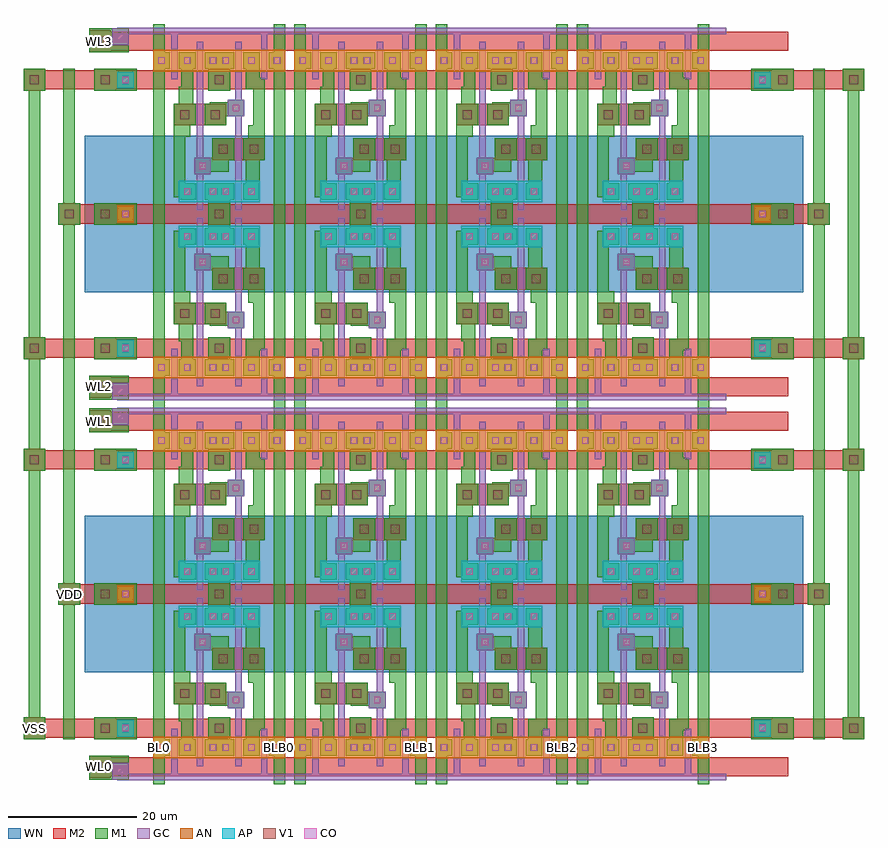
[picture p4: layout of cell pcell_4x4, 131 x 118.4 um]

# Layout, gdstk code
import gdstk
lib = gdstk.Library(unit=1e-6, precision=5e-08)
def R(c, l, rs):  # rectangles x0, y0, x1, y1
    for r in rs: c.add(gdstk.rectangle(r[:2], r[2:], *l))
def A(c, l, x, y, w, h, nx, ny, dx, dy):  # array of equal rectangles
    R(c, l, [(x+i*dx, y+j*dy, x+i*dx+w, y+j*dy+h) for i in range(nx) for j in range(ny)])
AP = (3, 1)
AN = (3, 2)
GC = (8, 1)
CO = (11, 0)
M1 = (13, 0)
V1 = (19, 0)
M2 = (20, 0)
WN = (140, 0)

fet_n = lib.new_cell('fet_n')
R(fet_n, AN, [(-3.3,-1.7,3.3,1.7)])
R(fet_n, CO, [(-2.5,-0.5,-1.5,0.5), (1.5,-0.5,2.5,0.5)])
R(fet_n, M1, [(-3.3,-1.3,-0.7,1.3), (0.7,-1.3,3.3,1.3)])
fet_n.add(gdstk.FlexPath([(0,-2.9),(0,2.9)], 1, ends="flush", simple_path=True, layer=8, datatype=1))  # GC

fet_p = lib.new_cell('fet_p')
R(fet_p, AP, [(-3.3,-1.7,3.3,1.7)])
R(fet_p, CO, [(-2.5,-0.5,-1.5,0.5), (1.5,-0.5,2.5,0.5)])
R(fet_p, M1, [(-3.3,-1.3,-0.7,1.3), (0.7,-1.3,3.3,1.3)])
fet_p.add(gdstk.FlexPath([(0,-2.9),(0,2.9)], 1, ends="flush", simple_path=True, layer=8, datatype=1))  # GC

via_1 = lib.new_cell('via_1')
R(via_1, M1, [(-1.7,-1.7,1.7,1.7)])
R(via_1, V1, [(-0.7,-0.7,0.7,0.7)])
R(via_1, M2, [(-1.7,-1.7,1.7,1.7)])

cont_g = lib.new_cell('cont_g')
R(cont_g, GC, [(-1.3,-1.3,1.3,1.3)])
R(cont_g, CO, [(-0.5,-0.5,0.5,0.5)])
R(cont_g, M1, [(-1.3,-1.3,1.3,1.3)])

pcell_core = lib.new_cell('pcell_core')
R(pcell_core, GC, [(0,-5.1,22,-4.1), (1.5,-5.1,2.5,-2.4), (15.5,-5.1,16.5,-2.4), (5.5,2.4,6.5,18), (11.5,2.4,12.5,18), (11.1,6.9,12.5,7.9), (5.5,15.9,6.9,16.9)])
R(pcell_core, M1, [(-1.3,-5.7,0.5,23.9), (17.5,-5.7,19.3,23.9), (3.1,-0.9,4.9,5.9), (8.1,-0.9,9.9,3.9), (13.1,-0.9,14.9,4.5), (14.9,1.3,15.3,2.7), (13.1,2.7,16.1,4.5), (14.3,2.7,16.1,11.9), (2.7,4.1,4.9,5.9), (2.7,4.1,4.5,11.9), (4.5,5.9,4.9,6.7), (7.5,6.5,9.3,9.3), (7.5,6.5,12.5,8.3), (10.1,8.3,10.3,8.7), (1.9,10.1,4.5,11.9), (1.9,10.1,3.7,21.3), (13.5,10.1,16.1,11.9), (13.5,10.1,15.3,18.7), (15.3,11.9,16.1,12.1), (8.7,12.9,10.5,17.3), (7.7,15.1,7.9,15.5), (5.5,15.5,10.5,17.3), (13.1,15.5,13.5,16.9), (13.1,16.9,15.3,18.7), (13.1,16.9,14.9,21.3), (14.9,18.7,15.3,19.1), (1.9,19.5,4.9,21.3), (8.1,19.5,9.9,24.8), (7.3,21.7,8.1,22.2), (9.9,21.7,10.7,22.2)])
R(pcell_core, M2, [(0,-4.5,22,-1.5), (0,1.5,22,4.5), (1.9,6.7,10.1,10.1), (7.9,12.1,16.1,15.5), (0,22.4,22,25.4)])
R(pcell_core, WN, [(-3.5,11.7,25.5,29.1)])
pcell_core.add(gdstk.Reference(fet_n, (2,0)))
pcell_core.add(gdstk.Reference(fet_n, (6,0)))
pcell_core.add(gdstk.Reference(fet_n, (12,0)))
pcell_core.add(gdstk.Reference(fet_n, (16,0)))
pcell_core.add(gdstk.Reference(fet_p, (6,20.4)))
pcell_core.add(gdstk.Reference(fet_p, (12,20.4)))
pcell_core.add(gdstk.Reference(via_1, (9,3)))
pcell_core.add(gdstk.Reference(via_1, (9,23.9)))
pcell_core.add(gdstk.Reference(via_1, (3.6,8.4)))
pcell_core.add(gdstk.Reference(via_1, (8.4,8.4)))
pcell_core.add(gdstk.Reference(cont_g, (11.6,7.4)))
pcell_core.add(gdstk.Reference(via_1, (14.4,13.8)))
pcell_core.add(gdstk.Reference(via_1, (9.6,13.8)))
pcell_core.add(gdstk.Reference(cont_g, (6.4,16.4)))

cont_n = lib.new_cell('cont_n')
R(cont_n, AN, [(-1.3,-1.3,1.3,1.3)])
R(cont_n, CO, [(-0.5,-0.5,0.5,0.5)])
R(cont_n, M1, [(-1.3,-1.3,1.3,1.3)])

cont_p = lib.new_cell('cont_p')
R(cont_p, AP, [(-1.3,-1.3,1.3,1.3)])
R(cont_p, CO, [(-0.5,-0.5,0.5,0.5)])
R(cont_p, M1, [(-1.3,-1.3,1.3,1.3)])

pcell_4x4 = lib.new_cell('pcell_4x4')
R(pcell_4x4, GC, [(-6.9,0.6,-5.9,2.5), (-6.4,0.6,0,1.6), (-6.9,56.7,-5.9,58.6), (-6.4,57.6,0,58.6), (-6.9,59.8,-5.9,61.7), (-6.4,59.8,0,60.8), (-6.9,115.9,-5.9,117.8), (-6.4,116.8,0,117.8)])
A(pcell_4x4, M1, -10.5, 7, 6.6, 3.4, 1, 3, 0, 20.9)
A(pcell_4x4, M1, 91.9, 7, 6.6, 3.4, 1, 3, 0, 20.9)
A(pcell_4x4, M1, -10.5, 66.2, 6.6, 3.4, 1, 3, 0, 20.9)
A(pcell_4x4, M1, 91.9, 66.2, 6.6, 3.4, 1, 3, 0, 20.9)
R(pcell_4x4, M1, [(-11.3,0.7,-5.1,4.4), (-20.7,7,-18.9,111.4), (-15.3,7,-13.5,111.4), (101.5,7,103.3,111.4), (106.9,7,108.7,111.4), (-11.3,54.8,-5.1,58.5), (-11.3,59.9,-5.1,63.6), (-11.3,114,-5.1,117.7)])
R(pcell_4x4, M2, [(-9.6,1.2,97.6,4.2), (-21.5,7.2,89.7,10.2), (-1.7,7.2,109.5,10.2), (-16.1,28.1,89.7,31.1), (-1.7,28.1,104.1,31.1), (-21.5,49,89.7,52), (-1.7,49,109.5,52), (-9.6,55,97.6,58), (-9.6,60.4,97.6,63.4), (-21.5,66.4,89.7,69.4), (-1.7,66.4,109.5,69.4), (-16.1,87.3,89.7,90.3), (-1.7,87.3,104.1,90.3), (-21.5,108.2,89.7,111.2), (-1.7,108.2,109.5,111.2), (-9.6,114.2,97.6,117.2)])
R(pcell_4x4, WN, [(-12,17.4,100,41.8), (0,17.4,100,41.8), (-12,76.6,100,101), (0,76.6,100,101)])
pcell_4x4.add(gdstk.Reference(pcell_core, (0,5.7)))
pcell_4x4.add(gdstk.Reference(pcell_core, (22,5.7)))
pcell_4x4.add(gdstk.Reference(pcell_core, (44,5.7)))
pcell_4x4.add(gdstk.Reference(pcell_core, (66,5.7)))
pcell_4x4.add(gdstk.Reference(cont_g, (-6.4,2)))
pcell_4x4.add(gdstk.Reference(via_1, (-9.6,2.7)))
pcell_4x4.add(gdstk.Reference(pcell_core, (0,53.5), x_reflection=True))
pcell_4x4.add(gdstk.Reference(pcell_core, (22,53.5), x_reflection=True))
pcell_4x4.add(gdstk.Reference(pcell_core, (44,53.5), x_reflection=True))
pcell_4x4.add(gdstk.Reference(pcell_core, (66,53.5), x_reflection=True))
pcell_4x4.add(gdstk.Reference(cont_g, (-6.4,57.2)))
pcell_4x4.add(gdstk.Reference(via_1, (-9.6,56.5)))
pcell_4x4.add(gdstk.Reference(pcell_core, (0,64.9)))
pcell_4x4.add(gdstk.Reference(pcell_core, (22,64.9)))
pcell_4x4.add(gdstk.Reference(pcell_core, (44,64.9)))
pcell_4x4.add(gdstk.Reference(pcell_core, (66,64.9)))
pcell_4x4.add(gdstk.Reference(cont_g, (-6.4,61.2)))
pcell_4x4.add(gdstk.Reference(via_1, (-9.6,61.9)))
pcell_4x4.add(gdstk.Reference(pcell_core, (0,112.7), x_reflection=True))
pcell_4x4.add(gdstk.Reference(pcell_core, (22,112.7), x_reflection=True))
pcell_4x4.add(gdstk.Reference(pcell_core, (44,112.7), x_reflection=True))
pcell_4x4.add(gdstk.Reference(pcell_core, (66,112.7), x_reflection=True))
pcell_4x4.add(gdstk.Reference(cont_g, (-6.4,116.4)))
pcell_4x4.add(gdstk.Reference(via_1, (-9.6,115.7)))
pcell_4x4.add(gdstk.Reference(cont_n, (-5.6,29.6)))
pcell_4x4.add(gdstk.Reference(via_1, (-8.8,29.6)))
pcell_4x4.add(gdstk.Reference(via_1, (-14.4,29.6)))
pcell_4x4.add(gdstk.Reference(cont_n, (-5.6,88.8)))
pcell_4x4.add(gdstk.Reference(via_1, (-8.8,88.8)))
pcell_4x4.add(gdstk.Reference(via_1, (-14.4,88.8)))
pcell_4x4.add(gdstk.Reference(cont_p, (-5.6,8.7)))
pcell_4x4.add(gdstk.Reference(via_1, (-8.8,8.7)))
pcell_4x4.add(gdstk.Reference(via_1, (-19.8,8.7)))
pcell_4x4.add(gdstk.Reference(cont_p, (-5.6,50.5)))
pcell_4x4.add(gdstk.Reference(via_1, (-8.8,50.5)))
pcell_4x4.add(gdstk.Reference(via_1, (-19.8,50.5)))
pcell_4x4.add(gdstk.Reference(cont_p, (-5.6,67.9)))
pcell_4x4.add(gdstk.Reference(via_1, (-8.8,67.9)))
pcell_4x4.add(gdstk.Reference(via_1, (-19.8,67.9)))
pcell_4x4.add(gdstk.Reference(cont_p, (-5.6,109.7)))
pcell_4x4.add(gdstk.Reference(via_1, (-8.8,109.7)))
pcell_4x4.add(gdstk.Reference(via_1, (-19.8,109.7)))
pcell_4x4.add(gdstk.Reference(cont_n, (93.6,29.6)))
pcell_4x4.add(gdstk.Reference(via_1, (96.8,29.6)))
pcell_4x4.add(gdstk.Reference(via_1, (102.4,29.6)))
pcell_4x4.add(gdstk.Reference(cont_n, (93.6,88.8)))
pcell_4x4.add(gdstk.Reference(via_1, (96.8,88.8)))
pcell_4x4.add(gdstk.Reference(via_1, (102.4,88.8)))
pcell_4x4.add(gdstk.Reference(cont_p, (93.6,8.7)))
pcell_4x4.add(gdstk.Reference(via_1, (96.8,8.7)))
pcell_4x4.add(gdstk.Reference(via_1, (107.8,8.7)))
pcell_4x4.add(gdstk.Reference(cont_p, (93.6,50.5)))
pcell_4x4.add(gdstk.Reference(via_1, (96.8,50.5)))
pcell_4x4.add(gdstk.Reference(via_1, (107.8,50.5)))
pcell_4x4.add(gdstk.Reference(cont_p, (93.6,67.9)))
pcell_4x4.add(gdstk.Reference(via_1, (96.8,67.9)))
pcell_4x4.add(gdstk.Reference(via_1, (107.8,67.9)))
pcell_4x4.add(gdstk.Reference(cont_p, (93.6,109.7)))
pcell_4x4.add(gdstk.Reference(via_1, (96.8,109.7)))
pcell_4x4.add(gdstk.Reference(via_1, (107.8,109.7)))
pcell_4x4.add(gdstk.Label('WL0', (-9.6,2.7), layer=49, texttype=0))
pcell_4x4.add(gdstk.Label('WL1', (-9.6,56.5), layer=49, texttype=0))
pcell_4x4.add(gdstk.Label('WL2', (-9.6,61.9), layer=49, texttype=0))
pcell_4x4.add(gdstk.Label('WL3', (-9.6,115.7), layer=49, texttype=0))
pcell_4x4.add(gdstk.Label('VDD', (-14.4,29.6), layer=48, texttype=0))
pcell_4x4.add(gdstk.Label('VSS', (-19.8,8.7), layer=48, texttype=0))
pcell_4x4.add(gdstk.Label('BL0', (-0.4,5.7), layer=48, texttype=0))
pcell_4x4.add(gdstk.Label('BLB0', (18.4,5.7), layer=48, texttype=0))
pcell_4x4.add(gdstk.Label('BL1', (21.6,5.7), layer=48, texttype=0))
pcell_4x4.add(gdstk.Label('BLB1', (40.4,5.7), layer=48, texttype=0))
pcell_4x4.add(gdstk.Label('BL2', (43.6,5.7), layer=48, texttype=0))
pcell_4x4.add(gdstk.Label('BLB2', (62.4,5.7), layer=48, texttype=0))
pcell_4x4.add(gdstk.Label('BL3', (65.6,5.7), layer=48, texttype=0))
pcell_4x4.add(gdstk.Label('BLB3', (84.4,5.7), layer=48, texttype=0))

lib.write_gds('pcell_4x4.gds')
